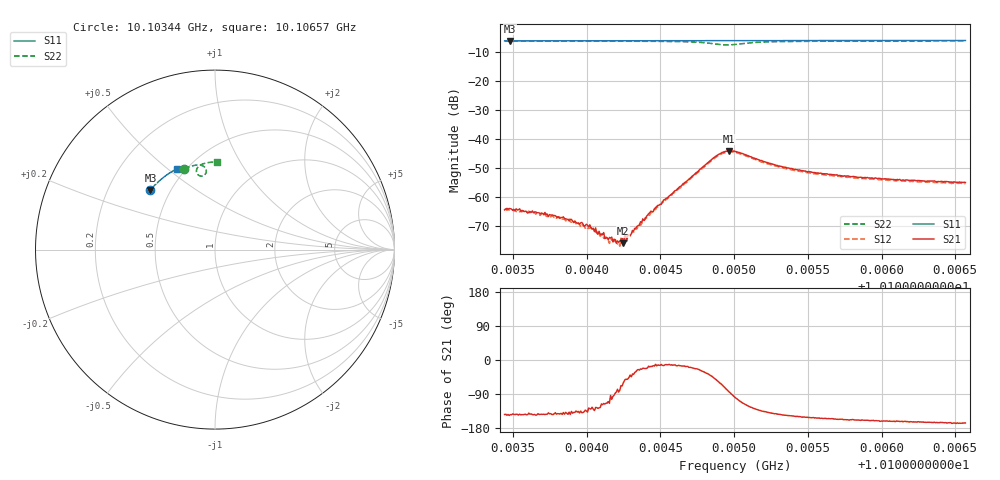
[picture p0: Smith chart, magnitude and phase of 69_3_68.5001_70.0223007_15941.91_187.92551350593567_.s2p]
#  HZ  S  RI  R  50.00
! Rohde & Schwarz Vector Network Analyzer
! Rohde-Schwarz,ZNB20-2Port,1311601062101988,3.16
! Created: UTC 3/20/2024, 4:51:41 PM
! freq[Hz]  re:S11  im:S11  re:S21  im:S21  re:S12  im:S12  re:S22  im:S22
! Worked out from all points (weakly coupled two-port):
!   401 points, 10.10344 GHz to 10.10657 GHz, reference 50 ohm
!   highest |S21| = -44.01 dB at 10.10497 GHz (marker M1); lowest = -75.7 dB at 10.10425 GHz (marker M2)
!   lowest |S11| = -6.2 dB at 10.10348 GHz (marker M3), VSWR 2.92, Z = 19.4 + j17 ohm
!   |S11| at or under -10 dB: nowhere
!   |S22| runs from -7.6 to -6.2 dB; largest |S21 - S12| = 0.00063
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1.0103442e10  -0.3611 0.3308  -0.000493 -0.000361  -0.000478 -0.000402  -0.1711 0.4507
1.0103481e10  -0.3595 0.3324  -0.000517 -0.000375  -0.000442 -0.000417  -0.1686 0.4518
1.0103817e10  -0.346 0.348  -0.000345 -0.000267  -0.000301 -0.000343  -0.1467 0.46
1.0103966e10  -0.3397 0.3546  -0.00028 -0.000243  -0.000184 -0.000281  -0.1366 0.4633
1.0104036e10  -0.3367 0.3578  -0.000161 -0.000234  -0.000149 -0.000249  -0.1314 0.4649
1.0104138e10  -0.3324 0.3621  -8.1e-05 -0.000185  -5.66e-05 -0.00019  -0.1239 0.4668
1.0104177e10  -0.3307 0.3638  -1.88e-05 -0.00017  -7.07e-07 -0.000181  -0.1208 0.4677
1.0104208e10  -0.3294 0.3652  3.97e-05 -0.000174  4.22e-05 -0.000153  -0.1185 0.4681
1.0104232e10  -0.3284 0.3661  7.04e-05 -0.000171  8.41e-05 -0.000185  -0.1166 0.4686
1.0104247e10  -0.3276 0.3668  8.01e-05 -0.000142  8.54e-05 -0.000147  -0.1153 0.4688
1.0104255e10  -0.3274 0.3671  0.000122 -0.000172  0.000109 -0.000152  -0.1146 0.469
1.0104286e10  -0.326 0.3685  0.000157 -0.000161  0.00017 -0.000145  -0.112 0.4694
1.0104419e10  -0.3201 0.374  0.000502 -0.000145  0.000475 -9.14e-05  -0.1003 0.4712
1.010449e10  -0.317 0.377  0.000716 -0.000174  0.00072 -0.000115  -0.0932 0.4717
1.0104865e10  -0.2996 0.3916  0.00324 -0.00363  0.00344 -0.00318  -0.0487 0.4327
1.010492e10  -0.2971 0.3937  0.0024 -0.00543  0.00271 -0.005  -0.0594 0.4149
1.0104967e10  -0.295 0.3954  0.000609 -0.00627  0.00111 -0.00595  -0.0781 0.4096
1.0105006e10  -0.2933 0.3968  -0.000934 -0.00608  -0.000365 -0.00593  -0.0926 0.415
1.0105287e10  -0.2799 0.4076  -0.00279 -0.00218  -0.00256 -0.00233  -0.088 0.4666
1.010553e10  -0.2681 0.4163  -0.00238 -0.00125  -0.0022 -0.00141  -0.0658 0.4781
1.0106053e10  -0.2417 0.4337  -0.00195 -0.000666  -0.0018 -0.000786  -0.0262 0.4864
1.0106569e10  -0.2143 0.449  -0.00175 -0.000431  -0.00164 -0.000532  0.00929 0.489
